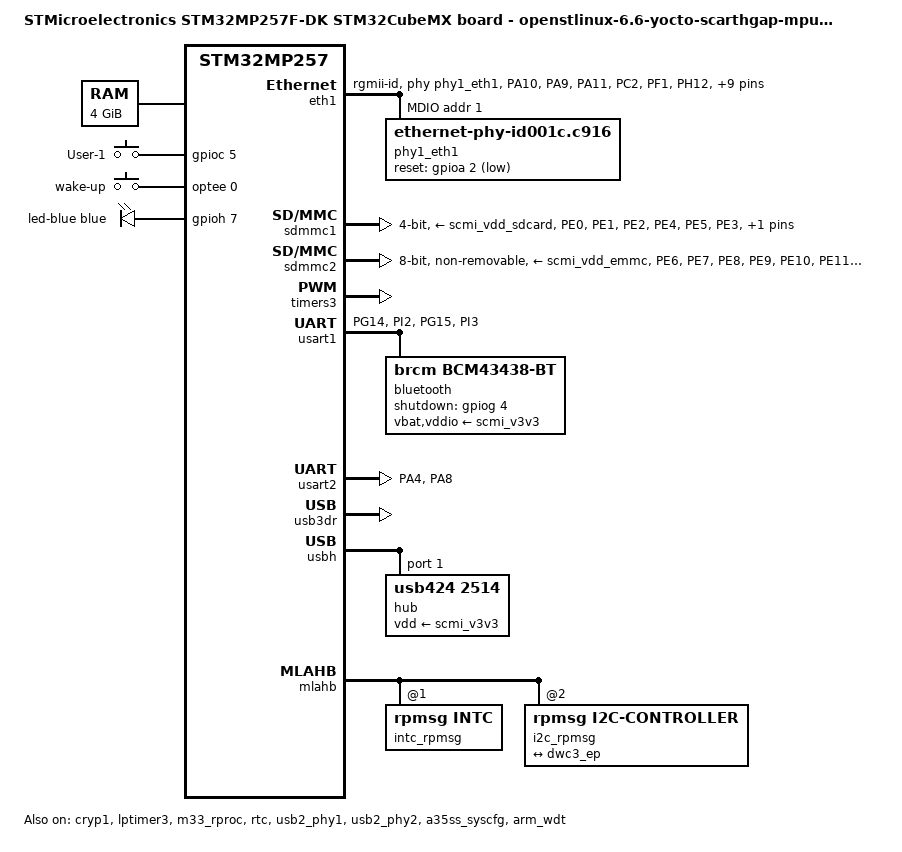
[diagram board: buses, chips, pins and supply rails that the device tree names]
// SPDX-License-Identifier: (GPL-2.0-only OR BSD-3-Clause)
/*
 * Copyright (C) 2026, STMicroelectronics - All Rights Reserved
 * Author: STM32CubeMX code generation for STMicroelectronics.
 */

/* For more information on Device Tree configuration, please refer to
 * https://wiki.st.com/stm32mpu/wiki/Category:Device_tree_configuration
 */

/dts-v1/;

#include <dt-bindings/pinctrl/stm32-pinfunc.h>
#include "stm32mp257.dtsi"
#include "stm32mp25xf.dtsi"
#include "stm32mp257f-base-mx-resmem.dtsi"
#include "stm32mp25xxak-pinctrl.dtsi"

/* USER CODE BEGIN includes */
#include <dt-bindings/gpio/gpio.h>
#include <dt-bindings/input/input.h>
#include <dt-bindings/leds/common.h>
#include <dt-bindings/rtc/rtc-stm32.h>
#include "stm32mp25-pinctrl.dtsi"
/* USER CODE END includes */

/ {
	model = "STMicroelectronics STM32MP257F-DK STM32CubeMX board - openstlinux-6.6-yocto-scarthgap-mpu-v26.06.10";
	compatible = "st,stm32mp257f-base-mx", "st,stm32mp257f-dk", "st,stm32mp257";

	memory@80000000 {
		device_type = "memory";
		reg = <0x0 0x80000000 0x00000001 0x00000000>;

		/* USER CODE BEGIN memory */
		/* USER CODE END memory */
	};

	/* USER CODE BEGIN root */

	aliases {
		serial0 = &usart2;
		serial1 = &usart6;
		serial2 = &usart1;
		ethernet0 = &eth1;
	};

	chosen {
		stdout-path = "serial0:115200n8";
		#address-cells = <2>;
		#size-cells = <2>;
		ranges;
	};

	gpio-keys {
		compatible = "gpio-keys";

		button-user-1 {
			label = "User-1";
			linux,code = <BTN_1>;
			gpios = <&gpioc 5 GPIO_ACTIVE_HIGH>;
			status = "okay";
		};

		button-wake-up {
			label = "wake-up";
			linux,code = <KEY_WAKEUP>;
			interrupts-extended = <&optee 0>;
			wakeup-source;
			status = "okay";
		};
	};

	gpio-leds {
		compatible = "gpio-leds";

		led-blue {
			function = LED_FUNCTION_HEARTBEAT;
			color = <LED_COLOR_ID_BLUE>;
			gpios = <&gpioh 7 GPIO_ACTIVE_HIGH>;
			linux,default-trigger = "heartbeat";
			default-state = "off";
		};
	};

	/* USER CODE END root */
}; /*root*/

&pinctrl {
	eth1_mdio_pins_mx: eth1_mdio_mx-0 {
		pins1 {
			pinmux = <STM32_PINMUX('A', 10, AF10)>; /* ETH1_MDIO */
			bias-disable;
			drive-push-pull;
			slew-rate = <0>;
			st,io-clk-edge = <0>;
			st,io-retime = <0>;
			st,io-delay-path = <0>;
			st,io-delay = <0>;
		};

		pins2 {
			pinmux = <STM32_PINMUX('A', 9, AF10)>; /* ETH1_MDC */
			bias-disable;
			drive-push-pull;
			slew-rate = <2>;
			st,io-clk-edge = <0>;
			st,io-retime = <0>;
			st,io-delay-path = <0>;
			st,io-delay = <0>;
		};
	};

	eth1_mdio_sleep_pins_mx: eth1_mdio_sleep_mx-0 {
		pins {
			pinmux = <STM32_PINMUX('A', 9, ANALOG)>, /* ETH1_MDC */
				 <STM32_PINMUX('A', 10, ANALOG)>; /* ETH1_MDIO */
		};
	};

	eth1_rgmii_pins_mx: eth1_rgmii_mx-0 {
		pins1 {
			pinmux = <STM32_PINMUX('A', 11, AF10)>, /* ETH1_RGMII_RX_CTL */
				 <STM32_PINMUX('C', 2, AF10)>, /* ETH1_RGMII_RXD1 */
				 <STM32_PINMUX('F', 1, AF10)>, /* ETH1_RGMII_RXD0 */
				 <STM32_PINMUX('H', 12, AF10)>, /* ETH1_RGMII_RXD2 */
				 <STM32_PINMUX('H', 13, AF10)>; /* ETH1_RGMII_RXD3 */
			bias-disable;
			drive-push-pull;
			st,io-clk-edge = <1>;
			st,io-retime = <1>;
			st,io-delay-path = <0>;
			st,io-delay = <0>;
		};

		pins2 {
			pinmux = <STM32_PINMUX('A', 13, AF10)>, /* ETH1_RGMII_TX_CTL */
				 <STM32_PINMUX('A', 15, AF10)>, /* ETH1_RGMII_TXD0 */
				 <STM32_PINMUX('C', 1, AF10)>, /* ETH1_RGMII_TXD1 */
				 <STM32_PINMUX('H', 10, AF10)>, /* ETH1_RGMII_TXD2 */
				 <STM32_PINMUX('H', 11, AF10)>; /* ETH1_RGMII_TXD3 */
			bias-disable;
			drive-push-pull;
			slew-rate = <3>;
			st,io-clk-edge = <1>;
			st,io-retime = <1>;
			st,io-delay-path = <0>;
			st,io-delay = <0>;
		};

		pins3 {
			pinmux = <STM32_PINMUX('A', 14, AF10)>; /* ETH1_RGMII_RX_CLK */
			bias-disable;
			drive-push-pull;
			slew-rate = <0>;
			st,io-clk-edge = <0>;
			st,io-retime = <0>;
			st,io-delay-path = <0>;
			st,io-delay = <0>;
		};

		pins4 {
			pinmux = <STM32_PINMUX('C', 0, AF12)>; /* ETH1_RGMII_GTX_CLK */
			bias-disable;
			drive-push-pull;
			slew-rate = <3>;
			st,io-clk-edge = <0>;
			st,io-retime = <0>;
			st,io-delay-path = <0>;
			st,io-delay = <0>;
		};

		pins5 {
			pinmux = <STM32_PINMUX('H', 9, AF10)>; /* ETH1_RGMII_CLK125 */
			bias-disable;
			drive-push-pull;
			slew-rate = <3>;
		};
	};

	eth1_rgmii_sleep_pins_mx: eth1_rgmii_sleep_mx-0 {
		pins {
			pinmux = <STM32_PINMUX('A', 11, ANALOG)>, /* ETH1_RGMII_RX_CTL */
				 <STM32_PINMUX('A', 13, ANALOG)>, /* ETH1_RGMII_TX_CTL */
				 <STM32_PINMUX('A', 14, ANALOG)>, /* ETH1_RGMII_RX_CLK */
				 <STM32_PINMUX('A', 15, ANALOG)>, /* ETH1_RGMII_TXD0 */
				 <STM32_PINMUX('C', 0, ANALOG)>, /* ETH1_RGMII_GTX_CLK */
				 <STM32_PINMUX('C', 1, ANALOG)>, /* ETH1_RGMII_TXD1 */
				 <STM32_PINMUX('C', 2, ANALOG)>, /* ETH1_RGMII_RXD1 */
				 <STM32_PINMUX('F', 1, ANALOG)>, /* ETH1_RGMII_RXD0 */
				 <STM32_PINMUX('H', 9, ANALOG)>, /* ETH1_RGMII_CLK125 */
				 <STM32_PINMUX('H', 10, ANALOG)>, /* ETH1_RGMII_TXD2 */
				 <STM32_PINMUX('H', 11, ANALOG)>, /* ETH1_RGMII_TXD3 */
				 <STM32_PINMUX('H', 12, ANALOG)>, /* ETH1_RGMII_RXD2 */
				 <STM32_PINMUX('H', 13, ANALOG)>; /* ETH1_RGMII_RXD3 */
		};
	};

	rtc_pins_mx: rtc_mx-0 {
		pins {
			pinmux = <STM32_PINMUX('I', 8, ANALOG)>; /* RTC_OUT2 */
			bias-disable;
			drive-push-pull;
			slew-rate = <0>;
		};
	};

	rtc_sleep_pins_mx: rtc_sleep_mx-0 {
		pins {
			pinmux = <STM32_PINMUX('I', 8, ANALOG)>; /* RTC_OUT2 */
		};
	};

	sdmmc1_pins_mx: sdmmc1_mx-0 {
		pins1 {
			pinmux = <STM32_PINMUX('E', 0, AF10)>, /* SDMMC1_D2 */
				 <STM32_PINMUX('E', 1, AF10)>, /* SDMMC1_D3 */
				 <STM32_PINMUX('E', 2, AF10)>, /* SDMMC1_CMD */
				 <STM32_PINMUX('E', 4, AF10)>, /* SDMMC1_D0 */
				 <STM32_PINMUX('E', 5, AF10)>; /* SDMMC1_D1 */
			bias-disable;
			drive-push-pull;
			slew-rate = <1>;
		};

		pins2 {
			pinmux = <STM32_PINMUX('E', 3, AF10)>; /* SDMMC1_CK */
			bias-disable;
			drive-push-pull;
			slew-rate = <2>;
		};
	};

	sdmmc1_opendrain_pins_mx: sdmmc1_opendrain_mx-0 {
		pins1 {
			pinmux = <STM32_PINMUX('E', 0, AF10)>, /* SDMMC1_D2 */
				 <STM32_PINMUX('E', 1, AF10)>, /* SDMMC1_D3 */
				 <STM32_PINMUX('E', 4, AF10)>, /* SDMMC1_D0 */
				 <STM32_PINMUX('E', 5, AF10)>; /* SDMMC1_D1 */
			bias-disable;
			drive-push-pull;
			slew-rate = <1>;
		};

		pins2 {
			pinmux = <STM32_PINMUX('E', 2, AF10)>; /* SDMMC1_CMD */
			bias-disable;
			drive-open-drain;
			slew-rate = <1>;
		};

		pins3 {
			pinmux = <STM32_PINMUX('E', 3, AF10)>; /* SDMMC1_CK */
			bias-disable;
			drive-push-pull;
			slew-rate = <2>;
		};
	};

	sdmmc1_sleep_pins_mx: sdmmc1_sleep_mx-0 {
		pins {
			pinmux = <STM32_PINMUX('E', 0, ANALOG)>, /* SDMMC1_D2 */
				 <STM32_PINMUX('E', 1, ANALOG)>, /* SDMMC1_D3 */
				 <STM32_PINMUX('E', 2, ANALOG)>, /* SDMMC1_CMD */
				 <STM32_PINMUX('E', 3, ANALOG)>, /* SDMMC1_CK */
				 <STM32_PINMUX('E', 4, ANALOG)>, /* SDMMC1_D0 */
				 <STM32_PINMUX('E', 5, ANALOG)>; /* SDMMC1_D1 */
		};
	};

	sdmmc2_pins_mx: sdmmc2_mx-0 {
		pins1 {
			pinmux = <STM32_PINMUX('E', 6, AF12)>, /* SDMMC2_D6 */
				 <STM32_PINMUX('E', 7, AF12)>, /* SDMMC2_D7 */
				 <STM32_PINMUX('E', 8, AF12)>, /* SDMMC2_D2 */
				 <STM32_PINMUX('E', 9, AF12)>, /* SDMMC2_D5 */
				 <STM32_PINMUX('E', 10, AF12)>, /* SDMMC2_D4 */
				 <STM32_PINMUX('E', 11, AF12)>, /* SDMMC2_D1 */
				 <STM32_PINMUX('E', 12, AF12)>, /* SDMMC2_D3 */
				 <STM32_PINMUX('E', 13, AF12)>, /* SDMMC2_D0 */
				 <STM32_PINMUX('E', 15, AF12)>; /* SDMMC2_CMD */
			bias-disable;
			drive-push-pull;
			slew-rate = <1>;
		};

		pins2 {
			pinmux = <STM32_PINMUX('E', 14, AF12)>; /* SDMMC2_CK */
			bias-disable;
			drive-push-pull;
			slew-rate = <3>;
		};
	};

	sdmmc2_opendrain_pins_mx: sdmmc2_opendrain_mx-0 {
		pins1 {
			pinmux = <STM32_PINMUX('E', 6, AF12)>, /* SDMMC2_D6 */
				 <STM32_PINMUX('E', 7, AF12)>, /* SDMMC2_D7 */
				 <STM32_PINMUX('E', 8, AF12)>, /* SDMMC2_D2 */
				 <STM32_PINMUX('E', 9, AF12)>, /* SDMMC2_D5 */
				 <STM32_PINMUX('E', 10, AF12)>, /* SDMMC2_D4 */
				 <STM32_PINMUX('E', 11, AF12)>, /* SDMMC2_D1 */
				 <STM32_PINMUX('E', 12, AF12)>, /* SDMMC2_D3 */
				 <STM32_PINMUX('E', 13, AF12)>; /* SDMMC2_D0 */
			bias-disable;
			drive-push-pull;
			slew-rate = <1>;
		};

		pins2 {
			pinmux = <STM32_PINMUX('E', 14, AF12)>; /* SDMMC2_CK */
			bias-disable;
			drive-push-pull;
			slew-rate = <3>;
		};

		pins3 {
			pinmux = <STM32_PINMUX('E', 15, AF12)>; /* SDMMC2_CMD */
			bias-disable;
			drive-open-drain;
			slew-rate = <1>;
		};
	};

	sdmmc2_sleep_pins_mx: sdmmc2_sleep_mx-0 {
		pins {
			pinmux = <STM32_PINMUX('E', 6, ANALOG)>, /* SDMMC2_D6 */
				 <STM32_PINMUX('E', 7, ANALOG)>, /* SDMMC2_D7 */
				 <STM32_PINMUX('E', 8, ANALOG)>, /* SDMMC2_D2 */
				 <STM32_PINMUX('E', 9, ANALOG)>, /* SDMMC2_D5 */
				 <STM32_PINMUX('E', 10, ANALOG)>, /* SDMMC2_D4 */
				 <STM32_PINMUX('E', 11, ANALOG)>, /* SDMMC2_D1 */
				 <STM32_PINMUX('E', 12, ANALOG)>, /* SDMMC2_D3 */
				 <STM32_PINMUX('E', 13, ANALOG)>, /* SDMMC2_D0 */
				 <STM32_PINMUX('E', 14, ANALOG)>, /* SDMMC2_CK */
				 <STM32_PINMUX('E', 15, ANALOG)>; /* SDMMC2_CMD */
		};
	};

	usart1_pins_mx: usart1_mx-0 {
		pins1 {
			pinmux = <STM32_PINMUX('G', 14, AF6)>, /* USART1_TX */
				 <STM32_PINMUX('I', 2, AF6)>; /* USART1_RTS */
			bias-disable;
			drive-push-pull;
			slew-rate = <0>;
		};

		pins2 {
			pinmux = <STM32_PINMUX('G', 15, AF6)>, /* USART1_RX */
				 <STM32_PINMUX('I', 3, AF6)>; /* USART1_CTS */
			bias-disable;
			drive-push-pull;
		};
	};

	usart1_idle_pins_mx: usart1_idle_mx-0 {
		pins1 {
			pinmux = <STM32_PINMUX('G', 14, ANALOG)>, /* USART1_TX */
				 <STM32_PINMUX('I', 3, ANALOG)>; /* USART1_CTS */
		};

		pins2 {
			pinmux = <STM32_PINMUX('G', 15, AF6)>; /* USART1_RX */
			bias-disable;
			drive-push-pull;
		};

		pins3 {
			pinmux = <STM32_PINMUX('I', 2, AF6)>; /* USART1_RTS */
			bias-disable;
			drive-push-pull;
			slew-rate = <0>;
		};
	};

	usart1_sleep_pins_mx: usart1_sleep_mx-0 {
		pins {
			pinmux = <STM32_PINMUX('G', 14, ANALOG)>, /* USART1_TX */
				 <STM32_PINMUX('G', 15, ANALOG)>, /* USART1_RX */
				 <STM32_PINMUX('I', 2, ANALOG)>, /* USART1_RTS */
				 <STM32_PINMUX('I', 3, ANALOG)>; /* USART1_CTS */
		};
	};

	usart2_pins_mx: usart2_mx-0 {
		pins1 {
			pinmux = <STM32_PINMUX('A', 4, AF6)>; /* USART2_TX */
			bias-disable;
			drive-push-pull;
			slew-rate = <0>;
		};

		pins2 {
			pinmux = <STM32_PINMUX('A', 8, AF8)>; /* USART2_RX */
			bias-disable;
			drive-push-pull;
		};
	};

	usart2_idle_pins_mx: usart2_idle_mx-0 {
		pins1 {
			pinmux = <STM32_PINMUX('A', 4, ANALOG)>; /* USART2_TX */
		};

		pins2 {
			pinmux = <STM32_PINMUX('A', 8, AF8)>; /* USART2_RX */
			bias-disable;
			drive-push-pull;
		};
	};

	usart2_sleep_pins_mx: usart2_sleep_mx-0 {
		pins {
			pinmux = <STM32_PINMUX('A', 4, ANALOG)>, /* USART2_TX */
				 <STM32_PINMUX('A', 8, ANALOG)>; /* USART2_RX */
		};
	};

	/* USER CODE BEGIN pinctrl */
	/* USER CODE END pinctrl */
};

&pinctrl_z {

	/* USER CODE BEGIN pinctrl_z */
	/* USER CODE END pinctrl_z */
};

&combophy {
	status = "disabled";

	/* USER CODE BEGIN combophy */
	st,ssc-on;
	/* USER CODE END combophy */
};

&cryp1 {
	status = "okay";

	/* USER CODE BEGIN cryp1 */
	/* USER CODE END cryp1 */
};

&eth1 {
	pinctrl-names = "default", "sleep";
	pinctrl-0 = <&eth1_mdio_pins_mx>, <&eth1_rgmii_pins_mx>;
	pinctrl-1 = <&eth1_mdio_sleep_pins_mx>, <&eth1_rgmii_sleep_pins_mx>;
	status = "okay";

	/* USER CODE BEGIN eth1 */
	phy-mode = "rgmii-id";
	max-speed = <1000>;
	phy-handle = <&phy1_eth1>;
	st,eth-ptp-from-rcc;

	mdio1 {
		#address-cells = <1>;
		#size-cells = <0>;
		compatible = "snps,dwmac-mdio";

		phy1_eth1: ethernet-phy@1 {
			compatible = "ethernet-phy-id001c.c916";
			reset-gpios = <&gpioa 2 GPIO_ACTIVE_LOW>;
			reset-assert-us = <10000>;
			reset-deassert-us = <80000>;
			realtek,eee-disable;
			reg = <1>;
		};
	};
	/* USER CODE END eth1 */
};

&hpdma {
	status = "okay";

	/* USER CODE BEGIN hpdma */
	memory-region = <&hpdma1_lli>;
	/* USER CODE END hpdma */
};

&hpdma2 {
	status = "okay";

	/* USER CODE BEGIN hpdma2 */
	memory-region = <&hpdma2_lli>;
	/* USER CODE END hpdma2 */
};

&hpdma3 {
	status = "okay";

	/* USER CODE BEGIN hpdma3 */
	memory-region = <&hpdma3_lli>;
	/* USER CODE END hpdma3 */
};

&ipcc1 {
	status = "okay";

	/* USER CODE BEGIN ipcc1 */
	/* USER CODE END ipcc1 */
};

&lptimer3 {
	status = "okay";

	/* USER CODE BEGIN lptimer3 */
	clocks = <&rcc CK_LPTIM3_AM>;

	timer {
		status = "okay";
	};
	/* USER CODE END lptimer3 */
};

&m33_rproc {
	status = "okay";

	/*Restriction: "memory-region" property is not managed - please to use User-Section if needed*/
	mboxes = <&ipcc1 0x100>, <&ipcc1 0x101>, <&ipcc1 2>;
	mbox-names = "vq0", "vq1", "shutdown";

	/* USER CODE BEGIN m33_rproc */
	compatible = "st,stm32mp2-m33-tee";
	memory-region = <&ipc_shmem_1>, <&vdev0vring0>,
			<&vdev0vring1>, <&vdev0buffer>,
			<&cm33_sram2>;
	/* USER CODE END m33_rproc */
};

&rtc {
	pinctrl-names = "default", "sleep";
	pinctrl-0 = <&rtc_pins_mx>;
	pinctrl-1 = <&rtc_sleep_pins_mx>;
	status = "okay";

	/* USER CODE BEGIN rtc */
	#clock-cells = <0>;
	st,lsco = <RTC_OUT2_RMP>;
	/* USER CODE END rtc */
};

&sdmmc1 {
	pinctrl-names = "default", "opendrain", "sleep";
	pinctrl-0 = <&sdmmc1_pins_mx>;
	pinctrl-1 = <&sdmmc1_opendrain_pins_mx>;
	pinctrl-2 = <&sdmmc1_sleep_pins_mx>;
	status = "okay";

	/* USER CODE BEGIN sdmmc1 */
	cd-gpios = <&gpiod 3 (GPIO_ACTIVE_LOW | GPIO_PULL_UP)>;
	disable-wp;
	st,neg-edge;
	bus-width = <4>;
	vmmc-supply = <&scmi_vdd_sdcard>;
	vqmmc-supply = <&scmi_vddio1>;
	sd-uhs-sdr12;
	sd-uhs-sdr25;
	sd-uhs-sdr50;
	sd-uhs-ddr50;
	sd-uhs-sdr104;
	/* USER CODE END sdmmc1 */
};

&sdmmc2 {
	pinctrl-names = "default", "opendrain", "sleep";
	pinctrl-0 = <&sdmmc2_pins_mx>;
	pinctrl-1 = <&sdmmc2_opendrain_pins_mx>;
	pinctrl-2 = <&sdmmc2_sleep_pins_mx>;
	status = "okay";

	/* USER CODE BEGIN sdmmc2 */
	non-removable;
	no-sd;
	no-sdio;
	st,neg-edge;
	bus-width = <8>;
	vmmc-supply = <&scmi_vdd_emmc>;
	vqmmc-supply = <&scmi_vddio2>;
	mmc-ddr-1_8v;
	mmc-hs200-1_8v;
	/* USER CODE END sdmmc2 */
};

&timers3 {
	status = "okay";

	/* USER CODE BEGIN timers3 */

	pwm3: pwm {
		pinctrl-0 = <&pwm3_ch2_pins_a>;
		pinctrl-1 = <&pwm3_ch2_sleep_pins_a>;
		pinctrl-names = "default", "sleep";
		status = "okay";
	};
	/* USER CODE END timers3 */
};

&usart1 {
	pinctrl-names = "default", "idle", "sleep";
	pinctrl-0 = <&usart1_pins_mx>;
	pinctrl-1 = <&usart1_idle_pins_mx>;
	pinctrl-2 = <&usart1_sleep_pins_mx>;
	status = "okay";

	/* USER CODE BEGIN usart1 */
	uart-has-rtscts;

	bluetooth {
		shutdown-gpios = <&gpiog 4 GPIO_ACTIVE_HIGH>;
		compatible = "brcm,bcm43438-bt";
		max-speed = <2000000>;
		vbat-supply = <&scmi_v3v3>;
		vddio-supply = <&scmi_v3v3>;
	};
	/* USER CODE END usart1 */
};

&usart2 {
	pinctrl-names = "default", "idle", "sleep";
	pinctrl-0 = <&usart2_pins_mx>;
	pinctrl-1 = <&usart2_idle_pins_mx>;
	pinctrl-2 = <&usart2_sleep_pins_mx>;
	status = "okay";

	/* USER CODE BEGIN usart2 */
	/delete-property/ dmas;
	/delete-property/ dma-names;
	/* USER CODE END usart2 */
};

&usb2_phy1 {
	status = "okay";

	/* USER CODE BEGIN usb2_phy1 */
	vdd33-supply = <&scmi_vdd3v3_usb>;
	/* USER CODE END usb2_phy1 */
};

&usb2_phy2 {
	status = "okay";

	/* USER CODE BEGIN usb2_phy2 */
	vdd33-supply = <&scmi_vdd3v3_usb>;
	/* USER CODE END usb2_phy2 */
};

&usb3dr {
	status = "okay";

	/* USER CODE BEGIN usb3dr */

	dwc3: usb@48300000 {
		phys = <&usb2_phy2>, <&combophy PHY_TYPE_USB3>;
		phy-names = "usb2-phy", "usb3-phy";
		usb-role-switch;

		port {
			dwc3_ep: endpoint {
				remote-endpoint = <&typec_ep>;
			};
		};
	};
	/* USER CODE END usb3dr */
};

&usbh {
	status = "okay";

	/* USER CODE BEGIN usbh */

	usbh_ehci: usb@482f0000 {
		#address-cells = <1>;
		#size-cells = <0>;

		hub@1 {
			compatible = "usb424,2514";
			reg = <1>;
			vdd-supply = <&scmi_v3v3>;
		};
	};
	/* USER CODE END usbh */
};

/* USER CODE BEGIN addons */

&a35ss_syscfg {
	status = "okay";
};

&ahbsr {
	mbox_client: mailbox-client@1 {
		compatible = "mbox-cdev";
		reg = <1 0>;
		memory-region = <&ipc_shmem_2>;
		mboxes = <&ipcc2 0x200>;
		mbox-names = "rx-tx";
		status = "okay";
	};
};

&arm_wdt {
	timeout-sec = <32>;
	status = "okay";
};

&ipcc2 {
	status = "okay";
};

&mlahb {
	intc_rpmsg: interrupt-controller@1 {
		compatible = "rpmsg,intc";
		reg = <1 0>;
		#interrupt-cells = <1>;
		interrupt-controller;
	};

	i2c_rpmsg: i2c@2 {
		compatible = "rpmsg,i2c-controller";
		reg = <2 0>;
		rpmsg,dev-id = "rpmsg_i2c";
		#address-cells = <1>;
		#size-cells = <0>;
		status = "okay";

		typec@35 {
			compatible = "st,stm32mp25-typec";
			reg = <0x35>;
			interrupts-extended = <&intc_rpmsg 0>;
			status = "okay";

			connector {
				compatible = "usb-c-connector";
				label = "USB-C";

				port {
					typec_ep: endpoint {
						remote-endpoint = <&dwc3_ep>;
					};
				};
			};
		};
	};
};

&m0_rproc {
	memory-region = <&cm0_cube_fw>, <&cm0_cube_data>;
	clocks = <&rcc CK_CPU3>,
		 <&rcc CK_CPU3_AM>,
		 <&rcc CK_LPUART1_C3>,
		 <&rcc CK_KER_LPUART1>,
		 <&rcc CK_LPUART1_AM>,
		 <&rcc CK_GPIOZ_C3>,
		 <&scmi_clk CK_SCMI_GPIOZ>,
		 <&scmi_clk CK_SCMI_GPIOZ_AM>,
		 <&rcc CK_LPTIM4_C3>,
		 <&rcc CK_KER_LPTIM4>,
		 <&rcc CK_LPTIM4_AM>,
		 <&scmi_clk CK_SCMI_IPCC2>,
		 <&scmi_clk CK_SCMI_IPCC2_AM>;
	status = "disabled";
};

&scmi_regu {
	scmi_vddio1: regulator@0 {
		regulator-min-microvolt = <1800000>;
		regulator-max-microvolt = <3300000>;
	};

	scmi_vddcore: regulator@b {
		reg = <VOLTD_SCMI_STPMIC2_BUCK2>;
		regulator-name = "vddcore";
	};

	scmi_v1v8: regulator@e {
		reg = <VOLTD_SCMI_STPMIC2_BUCK5>;
		regulator-name = "v1v8";
	};

	scmi_v3v3: regulator@10 {
		reg = <VOLTD_SCMI_STPMIC2_BUCK7>;
		regulator-name = "v3v3";
	};

	scmi_vdd_emmc: regulator@12 {
		reg = <VOLTD_SCMI_STPMIC2_LDO2>;
		regulator-name = "vdd_emmc";
	};

	scmi_vdd3v3_usb: regulator@14 {
		reg = <VOLTD_SCMI_STPMIC2_LDO4>;
		regulator-name = "vdd3v3_usb";
	};

	scmi_v5v_hdmi: regulator@15 {
		reg = <VOLTD_SCMI_STPMIC2_LDO5>;
		regulator-name = "v5v_hdmi";
	};

	scmi_v5v_vconn: regulator@16 {
		reg = <VOLTD_SCMI_STPMIC2_LDO6>;
		regulator-name = "v5v_vconn";
	};

	scmi_vdd_sdcard: regulator@17 {
		reg = <VOLTD_SCMI_STPMIC2_LDO7>;
		regulator-name = "vdd_sdcard";
	};
};

&gpu {
	status = "disabled";
};
/* USER CODE END addons */

